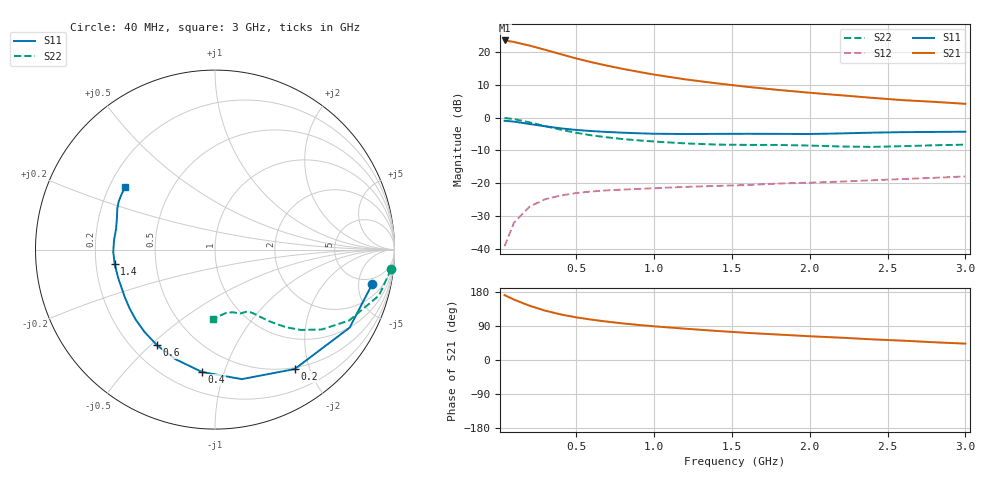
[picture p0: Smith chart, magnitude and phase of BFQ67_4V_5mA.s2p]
! Filename:  BFG67B.S2P  Version:  2.0
! Philips part #: BFG 67  Date: Jul 1990
! Bias condition: Vce=4V, Ic=5mA
! IN LINE PINNING: same data as with cross emitter pinning.
#  MHz  S  MA  R  50
! Freq  S11  S21  S12  S22  !GUM [dB]
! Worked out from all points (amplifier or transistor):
!   21 points, 40 MHz to 3 GHz, reference 50 ohm
!   highest |S21| = 23.5 dB at 40 MHz (marker M1)
!   |S21| within 3 dB of that: start of sweep to 312.2 MHz
!   unconditionally stable (mu >= 1): 1.711 GHz to end of sweep
!   at 300 MHz: K = 0.22, MSG = 22.8 dB, |S12| = -24.9 dB
!   at 1 GHz: K = 0.69, MSG = 17.3 dB, |S12| = -21.5 dB
!   at 3 GHz: K = 1.22, MAG = 8.3 dB, |S12| = -17.9 dB
!   S11 on the Smith chart (normalised r, x): 40 MHz: 3.77, -7.38; 200 MHz: 0.48, -1.77; 400 MHz: 0.33, -0.85; 600 MHz: 0.30, -0.52; 1.4 GHz: 0.28, -0.07; 3 GHz: 0.26, +0.30
40  0.897 -12.3  14.97 171.2  0.011 82.7  0.987 -6.3
100  0.867 -30.1  14.2 159.4  0.025 73.1  0.949 -15.6
200  0.8 -56.3  12.5 143.2  0.044 60.9  0.846 -27.8
300  0.737 -78.3  10.8 130.3  0.057 51.7  0.743 -36.8
400  0.686 -96.0  9.256 120.3  0.065 45.6  0.655 -43.1
500  0.649 -110.0  7.964 112.5  0.071 41.4  0.587 -47.5
600  0.623 -121.3  6.965 106.4  0.075 38.7  0.536 -50.5
700  0.604 -130.5  6.173 101.2  0.078 37.2  0.5 -52.9
800  0.589 -138.8  5.522 96.5  0.08 36.4  0.471 -54.7
900  0.577 -145.9  4.983 92.5  0.082 35.8  0.45 -56.2
1000  0.568 -152.3  4.522 88.9  0.084 35.8  0.432 -57.3
1200  0.562 -163.3  3.826 82.6  0.088 36.2  0.405 -60.0
1400  0.565 -171.8  3.334 76.8  0.091 37.1  0.388 -63.2
1600  0.567 -178.9  2.94 71.5  0.094 39.0  0.384 -66.3
1800  0.565 174.7  2.637 67.1  0.099 40.6  0.383 -68.5
2000  0.563 168.2  2.392 62.7  0.102 42.2  0.375 -70.5
2200  0.574 162.2  2.188 58.9  0.106 43.8  0.363 -74.2
2400  0.59 157.3  2.002 54.5  0.111 45.6  0.358 -79.7
2600  0.6 153.3  1.843 51.0  0.116 47.4  0.367 -84.8
2800  0.605 149.3  1.738 46.8  0.121 47.4  0.379 -88.8
3000  0.61 144.9  1.622 43.2  0.127 49.3  0.387 -91.8
